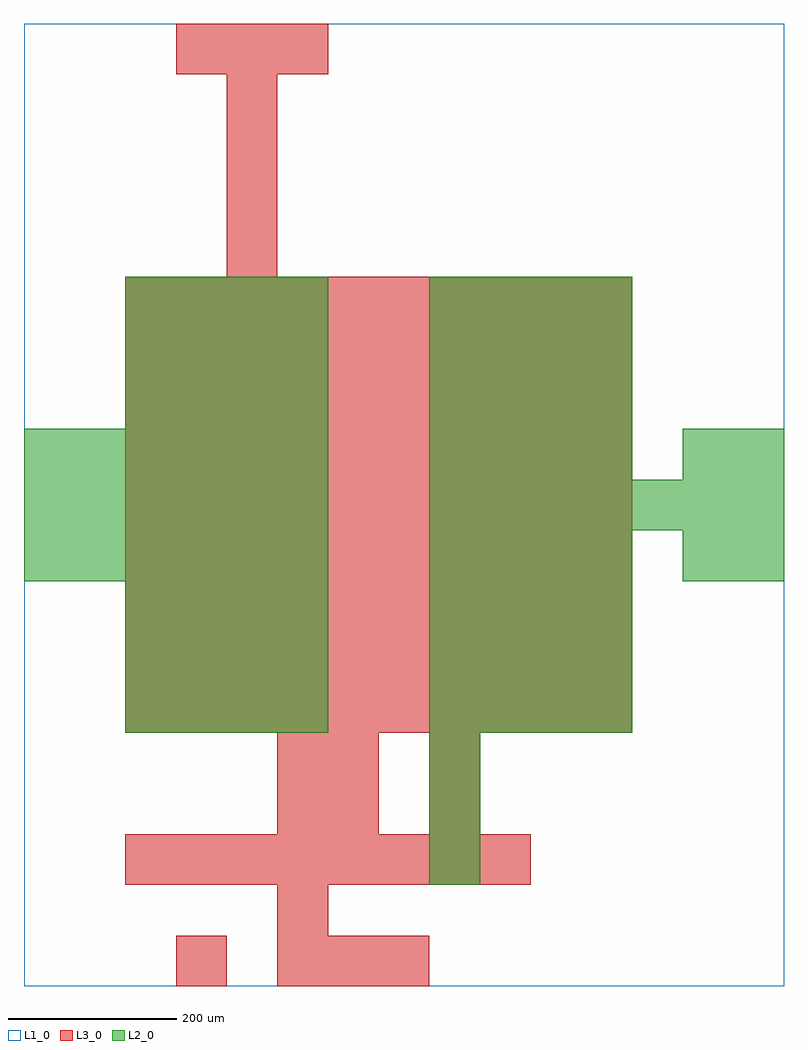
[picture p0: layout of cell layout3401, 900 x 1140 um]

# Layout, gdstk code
import gdstk
lib = gdstk.Library(unit=1e-6, precision=1e-09)
def R(c, l, rs):  # rectangles x0, y0, x1, y1
    for r in rs: c.add(gdstk.rectangle(r[:2], r[2:], *l))
def A(c, l, x, y, w, h, nx, ny, dx, dy):  # array of equal rectangles
    R(c, l, [(x+i*dx, y+j*dy, x+i*dx+w, y+j*dy+h) for i in range(nx) for j in range(ny)])
L1_0 = (1, 0)
L2_0 = (2, 0)
L3_0 = (3, 0)

layout3401 = lib.new_cell('layout3401')
R(layout3401, L1_0, [(0,0,900,1140)])
A(layout3401, L2_0, 480, 120, 60, 60, 1, 3, 0, 60)
A(layout3401, L2_0, 120, 300, 60, 60, 4, 3, 60, 60)
A(layout3401, L2_0, 480, 300, 60, 60, 4, 4, 60, 60)
A(layout3401, L2_0, 0, 480, 60, 60, 6, 3, 60, 60)
A(layout3401, L2_0, 480, 540, 60, 60, 7, 1, 60, 0)
A(layout3401, L2_0, 480, 600, 60, 60, 4, 4, 60, 60)
A(layout3401, L2_0, 120, 660, 60, 60, 4, 3, 60, 60)
R(layout3401, L2_0, [(780,480,840,540), (840,480,900,540), (780,600,840,660), (840,600,900,660)])
A(layout3401, L3_0, 300, 0, 60, 60, 3, 1, 60, 0)
A(layout3401, L3_0, 120, 120, 60, 60, 8, 1, 60, 0)
A(layout3401, L3_0, 120, 300, 60, 60, 10, 9, 60, 60)
A(layout3401, L3_0, 240, 840, 60, 60, 1, 4, 0, 60)
A(layout3401, L3_0, 180, 1080, 60, 60, 3, 1, 60, 0)
R(layout3401, L3_0, [(180,0,240,60), (300,60,360,120), (300,180,360,240), (360,180,420,240), (480,180,540,240), (300,240,360,300), (360,240,420,300), (480,240,540,300)])

lib.write_gds('layout3401.gds')
